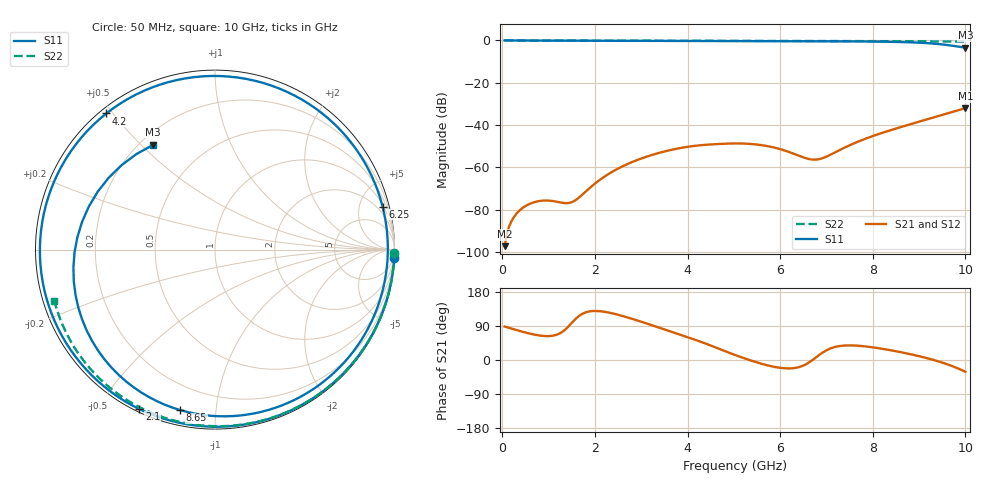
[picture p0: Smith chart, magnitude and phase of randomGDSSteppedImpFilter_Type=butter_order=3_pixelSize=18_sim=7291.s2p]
! freq	dB(S11)	phase(S11)	dB(S12)	phase(S12)
!  dB(S21)	phase(S21)	dB(S22)	phase(S22)
!S-par simulation data
#  GHz  S  DB  R 50
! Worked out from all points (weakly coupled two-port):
!   200 points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, 50 MHz to 10 GHz, reference 50 ohm
!   highest |S21| = -32.06 dB at 10 GHz (marker M1); lowest = -97.2 dB at 50 MHz (marker M2)
!   lowest |S11| = -3.4 dB at 10 GHz (marker M3), VSWR 5.20, Z = 12.6 + j27.2 ohm
!   |S11| at or under -10 dB: nowhere
!   |S22| runs from -0.5 to 0.0 dB; largest |S21 - S12| = 0
!   S11 on the Smith chart (normalised r, x): 50 MHz: 0, -40; 2.1 GHz: 0.01, -0.63; 4.2 GHz: 0.02, +0.48; 6.25 GHz: 1.15, +7.77; 8.65 GHz: 0.07, -0.80; 10 GHz: 0.25, +0.54
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0.05  -0.00 -2.8  -97.22 88.2  -97.22 88.2  -0.00 -0.9
0.5  -0.04 -28.0  -78.26 72.5  -78.26 72.5  -0.01 -9.3
1  -0.07 -55.6  -75.69 63.1  -75.69 63.1  -0.02 -18.5
1.45  -0.10 -80.2  -76.76 91.3  -76.76 91.3  -0.03 -26.8
1.75  -0.12 -96.5  -72.43 123.2  -72.43 123.2  -0.04 -32.2
2.1  -0.15 -115.4  -65.98 128.9  -65.98 128.9  -0.05 -38.5
2.8  -0.19 -153.2  -57.48 108.8  -57.48 108.8  -0.07 -50.8
3.4  -0.22 173.8  -53.05 84.9  -53.05 84.9  -0.08 -61.0
3.8  -0.24 151.4  -51.02 68.5  -51.02 68.5  -0.09 -67.7
4.2  -0.26 128.6  -49.70 51.8  -49.70 51.8  -0.10 -74.3
4.65  -0.28 102.7  -48.96 31.0  -48.96 31.0  -0.12 -81.6
5.05  -0.29 79.8  -48.67 12.1  -48.67 12.1  -0.14 -88.0
5.7  -0.31 43.5  -49.84 -13.3  -49.84 -13.3  -0.16 -98.1
6.25  -0.32 14.4  -53.18 -22.0  -53.18 -22.0  -0.19 -106.5
6.7  -0.33 -8.1  -56.30 0.0  -56.30 0.0  -0.22 -113.2
7.6  -0.42 -50.5  -48.58 38.3  -48.58 38.3  -0.29 -126.5
8.35  -0.62 -86.2  -42.65 26.5  -42.65 26.5  -0.35 -137.5
8.65  -0.77 -102.2  -40.64 19.6  -40.64 19.6  -0.38 -141.9
9.1  -1.16 -131.2  -37.73 7.1  -37.73 7.1  -0.43 -148.6
9.5  -1.87 -167.3  -35.15 -6.8  -35.15 -6.8  -0.48 -154.6
9.75  -2.58 161.1  -33.55 -17.7  -33.55 -17.7  -0.51 -158.4
10  -3.38 120.5  -32.06 -31.0  -32.06 -31.0  -0.54 -162.2
